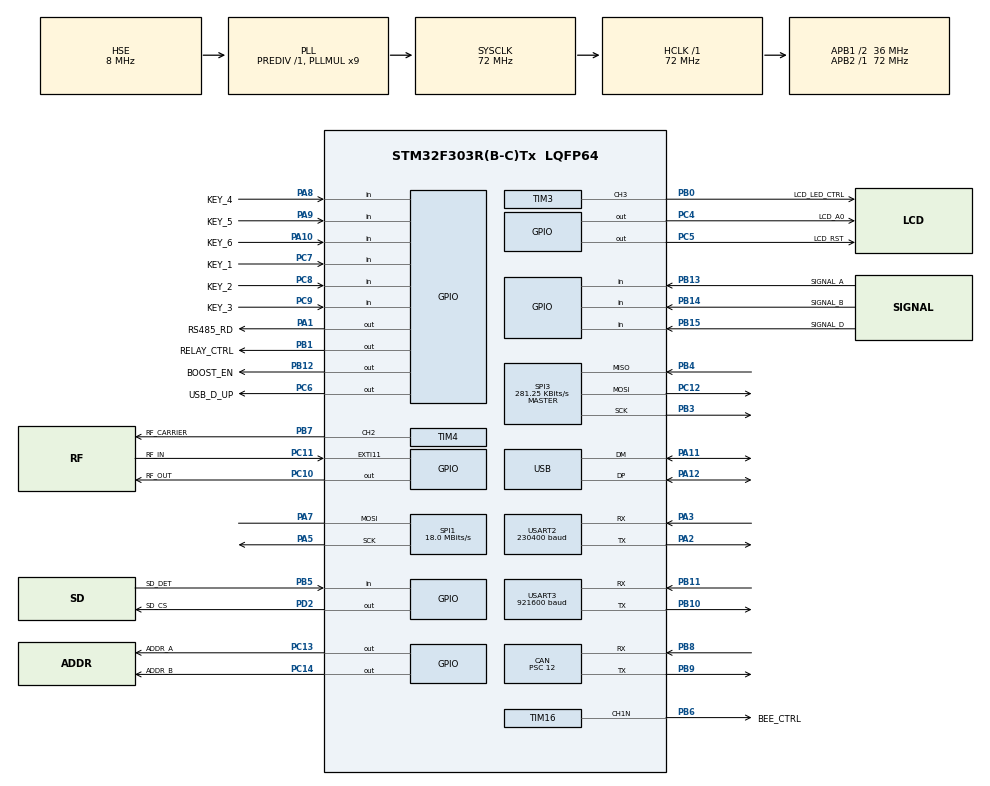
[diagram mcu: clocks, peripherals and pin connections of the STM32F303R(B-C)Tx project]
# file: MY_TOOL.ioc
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CAN.BS1=CAN_BS1_9TQ
CAN.BS2=CAN_BS2_2TQ
CAN.CalculateTimeQuantum=333.33333333333337
CAN.Mode=CAN_MODE_NORMAL
CAN.Prescaler=12
CAN.SJW=CAN_SJW_2TQ
CRC.InputDataFormat=CRC_INPUTDATA_FORMAT_HALFWORDS
Dma.Request0=USART3_RX
Dma.Request1=USART2_RX
Dma.USART2_RX.1.Direction=DMA_PERIPH_TO_MEMORY
Dma.USART2_RX.1.Instance=DMA1_Channel6
Dma.USART2_RX.1.MemDataAlignment=DMA_MDATAALIGN_BYTE
Dma.USART2_RX.1.MemInc=DMA_MINC_ENABLE
Dma.USART2_RX.1.Mode=DMA_NORMAL
Dma.USART2_RX.1.PeriphDataAlignment=DMA_PDATAALIGN_BYTE
Dma.USART2_RX.1.PeriphInc=DMA_PINC_DISABLE
Dma.USART2_RX.1.Priority=DMA_PRIORITY_LOW
Dma.USART3_RX.0.Direction=DMA_PERIPH_TO_MEMORY
Dma.USART3_RX.0.Instance=DMA1_Channel3
Dma.USART3_RX.0.MemDataAlignment=DMA_MDATAALIGN_BYTE
Dma.USART3_RX.0.MemInc=DMA_MINC_ENABLE
Dma.USART3_RX.0.Mode=DMA_NORMAL
Dma.USART3_RX.0.PeriphDataAlignment=DMA_PDATAALIGN_BYTE
Dma.USART3_RX.0.PeriphInc=DMA_PINC_DISABLE
Dma.USART3_RX.0.Priority=DMA_PRIORITY_LOW
FATFS._CODE_PAGE=437
FATFS._USE_LFN=2
FREERTOS.INCLUDE_uxTaskGetStackHighWaterMark=1
FREERTOS.INCLUDE_xTaskGetCurrentTaskHandle=1
FREERTOS.Queues01=KeyQueue,16,uint8_t,0,Dynamic,NULL,NULL;SysQueue,10,uint32_t,0,Dynamic,NULL,NULL;ComQueue,16,uint8_t,0,Dynamic,NULL,NULL;GuiQueue,10,uint32_t,0,Dynamic,NULL,NULL;CanQueue,4,uint8_t,0,Dynamic,NULL,NULL
FREERTOS.Tasks01=defaultTask,0,800,StartDefaultTask,Default,NULL,Dynamic,NULL,NULL;DelayStartUp,0,128,DelayStartUpFunction,Default,NULL,Dynamic,NULL,NULL;SysTask,0,128,SysTaskFunction,Default,NULL,Dynamic,NULL,NULL;ScanKey,2,128,ScanKeyFunction,Default,NULL,Dynamic,NULL,NULL;DealKey,0,128,DealKeyFunction,Default,NULL,Dynamic,NULL,NULL;DealCom,3,200,DealComTask,Default,NULL,Dynamic,NULL,NULL;GuiOperat,1,300,GuiOperattask,Default,NULL,Dynamic,NULL,NULL;SendToSensorNet,2,200,SendToSensorNetTask,Default,NULL,Dynamic,NULL,NULL;DealCan,3,200,DealCanTask,Default,NULL,Dynamic,NULL,NULL
FREERTOS.configTOTAL_HEAP_SIZE=15000
FREERTOS.configUSE_IDLE_HOOK=1
FREERTOS.configUSE_PREEMPTION=1
FREERTOS.configUSE_TICK_HOOK=1
Mcu.Family=STM32F3
Mcu.Name=STM32F303R(B-C)Tx
Mcu.Package=LQFP64
NVIC.CAN_RX1_IRQn=true\:5\:0\:false\:false\:true\:true\:true
NVIC.CAN_SCE_IRQn=true\:5\:0\:false\:false\:true\:true\:true
NVIC.DMA1_Channel3_IRQn=true\:5\:0\:false\:false\:true\:true\:false
NVIC.DMA1_Channel6_IRQn=true\:5\:0\:false\:false\:true\:true\:false
NVIC.EXTI15_10_IRQn=true\:5\:0\:false\:false\:true\:true\:true
NVIC.PriorityGroup=NVIC_PRIORITYGROUP_4
NVIC.TIM1_BRK_TIM15_IRQn=true\:5\:0\:false\:false\:true\:true\:false
NVIC.TIM1_UP_TIM16_IRQn=true\:5\:0\:false\:false\:true\:true\:true
NVIC.TIM2_IRQn=true\:5\:0\:false\:false\:true\:true\:true
NVIC.TIM6_DAC_IRQn=true\:5\:0\:false\:false\:true\:true\:true
NVIC.TIM7_IRQn=true\:5\:0\:false\:false\:true\:true\:true
NVIC.TIM8_UP_IRQn=true\:0\:0\:false\:false\:true\:false\:true
NVIC.TimeBase=TIM8_UP_IRQn
NVIC.TimeBaseIP=TIM8
NVIC.USART2_IRQn=true\:5\:0\:false\:false\:true\:true\:true
NVIC.USART3_IRQn=true\:5\:0\:false\:false\:true\:true\:true
NVIC.USB_LP_CAN_RX0_IRQn=true\:5\:0\:false\:false\:true\:true\:true
NVIC.USB_LP_IRQn=true\:5\:0\:false\:false\:true\:true\:false
PA1.GPIO_Label=RS485_RD
PA1.Signal=GPIO_Output
PA10.GPIO_Label=KEY_6
PA10.Signal=GPIO_Input
PA11.Mode=Device
PA11.Signal=USB_DM
PA12.GPIO_PuPd=GPIO_PULLUP
PA12.Mode=Device
PA12.Signal=USB_DP
PA13.Mode=Serial_Wire
PA13.Signal=SYS_JTMS-SWDIO
PA14.Mode=Serial_Wire
PA14.Signal=SYS_JTCK-SWCLK
PA2.Mode=Asynchronous
PA2.Signal=USART2_TX
PA3.Mode=Asynchronous
PA3.Signal=USART2_RX
PA5.Mode=Simplex_Bidirectional_Master
PA5.Signal=SPI1_SCK
PA7.Mode=Simplex_Bidirectional_Master
PA7.Signal=SPI1_MOSI
PA8.GPIO_Label=KEY_4
PA8.Signal=GPIO_Input
PA9.GPIO_Label=KEY_5
PA9.Signal=GPIO_Input
PB0.GPIO_Label=LCD_LED_CTRL
PB0.Signal=S_TIM3_CH3
PB1.GPIO_Label=RELAY_CTRL
PB1.Signal=GPIO_Output
PB10.Mode=Asynchronous
PB10.Signal=USART3_TX
PB11.Mode=Asynchronous
PB11.Signal=USART3_RX
PB12.GPIO_Label=BOOST_EN
PB12.Signal=GPIO_Output
PB13.GPIO_Label=SIGNAL_A
PB13.Signal=GPIO_Input
PB14.GPIO_Label=SIGNAL_B
PB14.Signal=GPIO_Input
PB15.GPIO_Label=SIGNAL_D
PB15.Signal=GPIO_Input
PB3.GPIO_PuPd=GPIO_PULLUP
PB3.Mode=Full_Duplex_Master
PB3.Signal=SPI3_SCK
PB4.Mode=Full_Duplex_Master
PB4.Signal=SPI3_MISO
PB5.GPIO_Label=SD_DET
PB5.GPIO_PuPd=GPIO_PULLUP
PB5.Signal=GPIO_Input
PB6.GPIO_Label=BEE_CTRL
PB6.Mode=PWM Generation1 CH1N
PB6.Signal=TIM16_CH1N
PB7.GPIO_Label=RF_CARRIER
PB7.Signal=S_TIM4_CH2
PB8.Mode=Master
PB8.Signal=CAN_RX
PB9.Mode=Master
PB9.Signal=CAN_TX
PC10.GPIO_Label=RF_OUT
PC10.Signal=GPIO_Output
PC11.GPIO_Label=RF_IN
PC11.GPIO_ModeDefaultEXTI=GPIO_MODE_IT_RISING_FALLING
PC11.Signal=GPXTI11
PC12.GPIO_PuPd=GPIO_PULLUP
PC12.Mode=Full_Duplex_Master
PC12.Signal=SPI3_MOSI
PC13.GPIO_Label=ADDR_A
PC13.Signal=GPIO_Output
PC14-OSC32_IN.GPIO_Label=ADDR_B
PC14-OSC32_IN.Signal=GPIO_Output
PC4.GPIO_Label=LCD_A0
PC4.Signal=GPIO_Output
PC5.GPIO_Label=LCD_RST
PC5.Signal=GPIO_Output
PC6.GPIO_Label=USB_D_UP
PC6.Signal=GPIO_Output
PC7.GPIO_Label=KEY_1
PC7.Signal=GPIO_Input
PC8.GPIO_Label=KEY_2
PC8.Signal=GPIO_Input
PC9.GPIO_Label=KEY_3
PC9.Signal=GPIO_Input
PD2.GPIO_Label=SD_CS
PD2.GPIO_PuPd=GPIO_PULLUP
PD2.PinState=GPIO_PIN_SET
PD2.Signal=GPIO_Output
PF0-OSC_IN.Mode=HSE-External-Oscillator
PF0-OSC_IN.Signal=RCC_OSC_IN
PF1-OSC_OUT.Mode=HSE-External-Oscillator
PF1-OSC_OUT.Signal=RCC_OSC_OUT
ProjectManager.HeapSize=0xA00
ProjectManager.StackSize=0xA00
ProjectManager.TargetToolchain=MDK-ARM V5
RCC.AHBFreq_Value=72000000
RCC.APB1CLKDivider=RCC_HCLK_DIV2
RCC.APB1Freq_Value=36000000
RCC.APB1TimFreq_Value=72000000
RCC.APB2Freq_Value=72000000
RCC.APB2TimFreq_Value=72000000
RCC.CortexFreq_Value=72000000
RCC.HCLKFreq_Value=72000000
RCC.HSE_VALUE=8000000
RCC.HSI_VALUE=8000000
RCC.LSE_VALUE=32768
RCC.PLLMUL=RCC_PLL_MUL9
RCC.PRESCALERUSB=RCC_USBCLKSOURCE_PLL_DIV1_5
RCC.SYSCLKFreq_VALUE=72000000
RCC.SYSCLKSourceVirtual=RCC_SYSCLKSOURCE_PLLCLK
RCC.USBFreq_Value=48000000
SH.S_TIM3_CH3.0=TIM3_CH3,PWM Generation3 CH3
SH.S_TIM4_CH2.0=TIM4_CH2,PWM Generation2 CH2
SPI1.BaudRatePrescaler=SPI_BAUDRATEPRESCALER_4
SPI1.CLKPhase=SPI_PHASE_1EDGE
SPI1.CLKPolarity=SPI_POLARITY_HIGH
SPI1.CalculateBaudRate=18.0 MBits/s
SPI1.DataSize=SPI_DATASIZE_8BIT
SPI1.Direction=SPI_DIRECTION_1LINE
SPI1.FirstBit=SPI_FIRSTBIT_MSB
SPI1.Mode=SPI_MODE_MASTER
SPI1.VirtualType=VM_MASTER
SPI3.BaudRatePrescaler=SPI_BAUDRATEPRESCALER_128
SPI3.CalculateBaudRate=281.25 KBits/s
SPI3.DataSize=SPI_DATASIZE_8BIT
SPI3.Direction=SPI_DIRECTION_2LINES
SPI3.Mode=SPI_MODE_MASTER
SPI3.VirtualType=VM_MASTER
TIM1.Period=65535
TIM1.Prescaler=719
TIM15.Period=999
TIM15.Prescaler=71
TIM16.Channel=TIM_CHANNEL_1
TIM16.Period=2000
TIM16.Prescaler=72
TIM16.Pulse=250
TIM17.Period=999
TIM17.Prescaler=71
TIM2.Period=59999
TIM2.Prescaler=71
TIM3.Channel-PWM\ Generation3\ CH3=TIM_CHANNEL_3
TIM3.Period=1000
TIM3.Prescaler=72
TIM3.Pulse-PWM\ Generation3\ CH3=200
TIM4.Channel-PWM\ Generation2\ CH2=TIM_CHANNEL_2
TIM4.Period=79
TIM4.Prescaler=23
TIM4.Pulse-PWM\ Generation2\ CH2=1
TIM6.Period=2999
TIM6.Prescaler=71
TIM7.Period=2999
TIM7.Prescaler=71
USART2.BaudRate=230400
USART2.VirtualMode-Asynchronous=VM_ASYNC
USART3.BaudRate=921600
USART3.VirtualMode-Asynchronous=VM_ASYNC
USB_DEVICE.APP_RX_DATA_SIZE=200
USB_DEVICE.APP_TX_DATA_SIZE=200
USB_DEVICE.CLASS_NAME_FS=CDC
USB_DEVICE.MANUFACTURER_STRING=SHUYANCOM
USB_DEVICE.USBD_DEBUG_LEVEL=0
USB_DEVICE.VirtualMode=Cdc
USB_DEVICE.VirtualModeFS=Cdc_FS
VP_CRC_VS_CRC.Mode=CRC_Activate
VP_FATFS_VS_Generic.Mode=User_defined
VP_FREERTOS_VS_ENABLE.Mode=Enabled
VP_SYS_VS_tim8.Mode=TIM8
VP_TIM15_VS_ClockSourceINT.Mode=Internal
VP_TIM16_VS_ClockSourceINT.Mode=Enable_Timer
VP_TIM17_VS_ClockSourceINT.Mode=Enable_Timer
VP_TIM1_VS_ClockSourceINT.Mode=Internal
VP_TIM2_VS_ClockSourceINT.Mode=Internal
VP_TIM3_VS_ClockSourceINT.Mode=Internal
VP_TIM6_VS_ClockSourceINT.Mode=Enable_Timer
VP_TIM7_VS_ClockSourceINT.Mode=Enable_Timer
VP_USB_DEVICE_VS_USB_DEVICE_CDC_FS.Mode=CDC_FS
board=custom

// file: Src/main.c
/* USER CODE BEGIN Header */
/**
  ******************************************************************************
  * @file           : main.c
  * @brief          : Main program body
  ******************************************************************************
  * This notice applies to any and all portions of this file
  * that are not between comment pairs USER CODE BEGIN and
  * USER CODE END. Other portions of this file, whether
  * inserted by the user or by software development tools
  * are owned by their respective copyright owners.
  *
  * Copyright (c) 2020 STMicroelectronics International N.V.
  * All rights reserved.
  *
  * Redistribution and use in source and binary forms, with or without
  * modification, are permitted, provided that the following conditions are met:
  *
  * 1. Redistribution of source code must retain the above copyright notice,
  *    this list of conditions and the following disclaimer.
  * 2. Redistributions in binary form must reproduce the above copyright notice,
  *    this list of conditions and the following disclaimer in the documentation
  *    and/or other materials provided with the distribution.
  * 3. Neither the name of STMicroelectronics nor the names of other
  *    contributors to this software may be used to endorse or promote products
  *    derived from this software without specific written permission.
  * 4. This software, including modifications and/or derivative works of this
  *    software, must execute solely and exclusively on microcontroller or
  *    microprocessor devices manufactured by or for STMicroelectronics.
  * 5. Redistribution and use of this software other than as permitted under
  *    this license is void and will automatically terminate your rights under
  *    this license.
  *
  * THIS SOFTWARE IS PROVIDED BY STMICROELECTRONICS AND CONTRIBUTORS "AS IS"
  * AND ANY EXPRESS, IMPLIED OR STATUTORY WARRANTIES, INCLUDING, BUT NOT
  * LIMITED TO, THE IMPLIED WARRANTIES OF MERCHANTABILITY, FITNESS FOR A
  * PARTICULAR PURPOSE AND NON-INFRINGEMENT OF THIRD PARTY INTELLECTUAL PROPERTY
  * RIGHTS ARE DISCLAIMED TO THE FULLEST EXTENT PERMITTED BY LAW. IN NO EVENT
  * SHALL STMICROELECTRONICS OR CONTRIBUTORS BE LIABLE FOR ANY DIRECT, INDIRECT,
  * INCIDENTAL, SPECIAL, EXEMPLARY, OR CONSEQUENTIAL DAMAGES (INCLUDING, BUT NOT
  * LIMITED TO, PROCUREMENT OF SUBSTITUTE GOODS OR SERVICES; LOSS OF USE, DATA,
  * OR PROFITS; OR BUSINESS INTERRUPTION) HOWEVER CAUSED AND ON ANY THEORY OF
  * LIABILITY, WHETHER IN CONTRACT, STRICT LIABILITY, OR TORT (INCLUDING
  * NEGLIGENCE OR OTHERWISE) ARISING IN ANY WAY OUT OF THE USE OF THIS SOFTWARE,
  * EVEN IF ADVISED OF THE POSSIBILITY OF SUCH DAMAGE.
  *
  ******************************************************************************
  */
/* USER CODE END Header */

#include "main.h"
#include "cmsis_os.h"
#include "can.h"
#include "crc.h"
#include "dma.h"
#include "fatfs.h"
#include "spi.h"
#include "tim.h"
#include "usart.h"
#include "usb_device.h"
#include "gpio.h"

/* USER CODE BEGIN Includes */
#include "include.h"
/* USER CODE END Includes */

void SystemClock_Config(void);
void MX_FREERTOS_Init(void);

int main(void)
{

  /* MCU Configuration--------------------------------------------------------*/

  /* Reset of all peripherals, Initializes the Flash interface and the Systick. */
  HAL_Init();

  /* Configure the system clock */
  SystemClock_Config();

  /* Initialize all configured peripherals */
  MX_GPIO_Init();
  MX_DMA_Init();
  MX_CRC_Init();
  MX_CAN_Init();
  MX_SPI3_Init();
  MX_TIM4_Init();
  MX_USART2_UART_Init();
  MX_SPI1_Init();
  MX_TIM3_Init();
  MX_USART3_UART_Init();
  MX_TIM16_Init();
  MX_TIM17_Init();
  MX_TIM6_Init();
  MX_TIM7_Init();
  MX_TIM1_Init();
  MX_TIM2_Init();
  MX_TIM15_Init();
  /* USER CODE BEGIN 2 */
  	HAL_TIM_Base_Start(&htim1);
  	HAL_TIM_Base_Start(&htim2);
  	HAL_NVIC_EnableIRQ(EXTI15_10_IRQn);

	//HAL_TIM_PWM_Start(&htim3,TIM_CHANNEL_3);
	HAL_TIM_PWM_Start(&htim4,TIM_CHANNEL_2);
	//HAL_TIMEx_PWMN_Start(&htim16,TIM_CHANNEL_1);

	HAL_CAN_ActivateNotification(&hcan,CAN_IT_RX_FIFO0_MSG_PENDING);
	//SetCanFliter16Bit_IDMask_Mode(0x100,0x007,0xf00,0x00f);//����1XX��XX7��֡
	SetCanFliter16Bit_IDMask_Mode(0x000,0x000,0x000,0x000);//����1XX��XX7��֡
	HAL_CAN_Start(&hcan);

  /* USER CODE END 2 */

  /* Call init function for freertos objects (in freertos.c) */
  MX_FREERTOS_Init();

  /* Start scheduler */
  osKernelStart();

  /* We should never get here as control is now taken by the scheduler */

  /* Infinite loop */
  while (1)
  {

  }
}

void SystemClock_Config(void)
{
  RCC_OscInitTypeDef RCC_OscInitStruct = {0};
  RCC_ClkInitTypeDef RCC_ClkInitStruct = {0};
  RCC_PeriphCLKInitTypeDef PeriphClkInit = {0};

  /**Initializes the CPU, AHB and APB busses clocks
  */
  RCC_OscInitStruct.OscillatorType = RCC_OSCILLATORTYPE_HSE;
  RCC_OscInitStruct.HSEState = RCC_HSE_ON;
  RCC_OscInitStruct.HSEPredivValue = RCC_HSE_PREDIV_DIV1;
  RCC_OscInitStruct.HSIState = RCC_HSI_ON;
  RCC_OscInitStruct.PLL.PLLState = RCC_PLL_ON;
  RCC_OscInitStruct.PLL.PLLSource = RCC_PLLSOURCE_HSE;
  RCC_OscInitStruct.PLL.PLLMUL = RCC_PLL_MUL9;
  if (HAL_RCC_OscConfig(&RCC_OscInitStruct) != HAL_OK)
  {
    Error_Handler();
  }
  /**Initializes the CPU, AHB and APB busses clocks
  */
  RCC_ClkInitStruct.ClockType = RCC_CLOCKTYPE_HCLK|RCC_CLOCKTYPE_SYSCLK
                              |RCC_CLOCKTYPE_PCLK1|RCC_CLOCKTYPE_PCLK2;
  RCC_ClkInitStruct.SYSCLKSource = RCC_SYSCLKSOURCE_PLLCLK;
  RCC_ClkInitStruct.AHBCLKDivider = RCC_SYSCLK_DIV1;
  RCC_ClkInitStruct.APB1CLKDivider = RCC_HCLK_DIV2;
  RCC_ClkInitStruct.APB2CLKDivider = RCC_HCLK_DIV1;

  if (HAL_RCC_ClockConfig(&RCC_ClkInitStruct, FLASH_LATENCY_2) != HAL_OK)
  {
    Error_Handler();
  }
  PeriphClkInit.PeriphClockSelection = RCC_PERIPHCLK_USB|RCC_PERIPHCLK_USART2
                              |RCC_PERIPHCLK_USART3|RCC_PERIPHCLK_TIM1;
  PeriphClkInit.Usart2ClockSelection = RCC_USART2CLKSOURCE_PCLK1;
  PeriphClkInit.Usart3ClockSelection = RCC_USART3CLKSOURCE_PCLK1;
  PeriphClkInit.USBClockSelection = RCC_USBCLKSOURCE_PLL_DIV1_5;
  PeriphClkInit.Tim1ClockSelection = RCC_TIM1CLK_HCLK;
  if (HAL_RCCEx_PeriphCLKConfig(&PeriphClkInit) != HAL_OK)
  {
    Error_Handler();
  }
}

/* USER CODE BEGIN 4 */

void HAL_CAN_RxFifo1MsgPendingCallback(CAN_HandleTypeDef *hcan)
{
	CAN_RxHeaderTypeDef RxMessage1 = {0};
	unsigned char buff[8] = {0};
	//HAL_GPIO_TogglePin(LED_G_GPIO_Port,LED_G_Pin);
	//HAL_GPIO_TogglePin(LED_Y_GPIO_Port,LED_Y_Pin);
	HAL_CAN_GetRxMessage(hcan,CAN_RX_FIFO1,&RxMessage1,buff);
}

void HAL_CAN_RxFifo0MsgPendingCallback(CAN_HandleTypeDef *hcan)
{
	CAN_RxHeaderTypeDef RxMessage0 = {0};
	unsigned char buff[8] = {0};
	//HAL_GPIO_TogglePin(POWER_CTRL_GPIO_Port,POWER_CTRL_Pin);
	//HAL_GPIO_TogglePin(LED_G_GPIO_Port,LED_G_Pin);
	//HAL_GPIO_TogglePin(LED_Y_GPIO_Port,LED_Y_Pin);
	HAL_CAN_GetRxMessage(hcan,CAN_RX_FIFO0,&RxMessage0,buff);
	RecvCanFrame_Stm32(buff,&RxMessage0,&CanRecvFifo);
	//HAL_GPIO_TogglePin(LED_G_GPIO_Port,LED_G_Pin);
	//HAL_GPIO_TogglePin(LED_Y_GPIO_Port,LED_Y_Pin);
}

/* USER CODE END 4 */

void HAL_TIM_PeriodElapsedCallback(TIM_HandleTypeDef *htim)
{
  if (htim->Instance == TIM8) {
    HAL_IncTick();
  }
  /* USER CODE BEGIN Callback 1 */
  if (htim->Instance == TIM17) {
    BeeCountTimeCallBack();
  }

	if (htim->Instance == TIM15) {
		TimerCount++;
		INC_COUNTER_TIMER();
	}
  	UartTimerOpeart(htim,&COM2_Info);//timer6
	UartTimerOpeart(htim,&COM3_Info);//timer7
  /* USER CODE END Callback 1 */
}

void Error_Handler(void)
{
}

/************************ (C) COPYRIGHT STMicroelectronics *****END OF FILE****/

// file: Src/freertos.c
/* USER CODE BEGIN Header */
/**
  ******************************************************************************
  * File Name          : freertos.c
  * Description        : Code for freertos applications
  ******************************************************************************
  * This notice applies to any and all portions of this file
  * that are not between comment pairs USER CODE BEGIN and
  * USER CODE END. Other portions of this file, whether
  * inserted by the user or by software development tools
  * are owned by their respective copyright owners.
  *
  * Copyright (c) 2020 STMicroelectronics International N.V.
  * All rights reserved.
  *
  * Redistribution and use in source and binary forms, with or without
  * modification, are permitted, provided that the following conditions are met:
  *
  * 1. Redistribution of source code must retain the above copyright notice,
  *    this list of conditions and the following disclaimer.
  * 2. Redistributions in binary form must reproduce the above copyright notice,
  *    this list of conditions and the following disclaimer in the documentation
  *    and/or other materials provided with the distribution.
  * 3. Neither the name of STMicroelectronics nor the names of other
  *    contributors to this software may be used to endorse or promote products
  *    derived from this software without specific written permission.
  * 4. This software, including modifications and/or derivative works of this
  *    software, must execute solely and exclusively on microcontroller or
  *    microprocessor devices manufactured by or for STMicroelectronics.
  * 5. Redistribution and use of this software other than as permitted under
  *    this license is void and will automatically terminate your rights under
  *    this license.
  *
  * THIS SOFTWARE IS PROVIDED BY STMICROELECTRONICS AND CONTRIBUTORS "AS IS"
  * AND ANY EXPRESS, IMPLIED OR STATUTORY WARRANTIES, INCLUDING, BUT NOT
  * LIMITED TO, THE IMPLIED WARRANTIES OF MERCHANTABILITY, FITNESS FOR A
  * PARTICULAR PURPOSE AND NON-INFRINGEMENT OF THIRD PARTY INTELLECTUAL PROPERTY
  * RIGHTS ARE DISCLAIMED TO THE FULLEST EXTENT PERMITTED BY LAW. IN NO EVENT
  * SHALL STMICROELECTRONICS OR CONTRIBUTORS BE LIABLE FOR ANY DIRECT, INDIRECT,
  * INCIDENTAL, SPECIAL, EXEMPLARY, OR CONSEQUENTIAL DAMAGES (INCLUDING, BUT NOT
  * LIMITED TO, PROCUREMENT OF SUBSTITUTE GOODS OR SERVICES; LOSS OF USE, DATA,
  * OR PROFITS; OR BUSINESS INTERRUPTION) HOWEVER CAUSED AND ON ANY THEORY OF
  * LIABILITY, WHETHER IN CONTRACT, STRICT LIABILITY, OR TORT (INCLUDING
  * NEGLIGENCE OR OTHERWISE) ARISING IN ANY WAY OUT OF THE USE OF THIS SOFTWARE,
  * EVEN IF ADVISED OF THE POSSIBILITY OF SUCH DAMAGE.
  *
  ******************************************************************************
  */
/* USER CODE END Header */

#include "FreeRTOS.h"
#include "task.h"
#include "main.h"
#include "cmsis_os.h"

/* USER CODE BEGIN Includes */
#include "include.h"
/* USER CODE END Includes */

/* USER CODE BEGIN Variables */

//unsigned char G_SensorNetDownLoadFlag = CAN_NET_STOP;
unsigned char G_SensorNetDownLoadFlag = INVENTORY_PROCESS;

unsigned char frame_num = 3;
unsigned char slot_gap = 80;
unsigned char sensor_upload_mod = UPLOAD_MOD_RAW_VALUE;
//unsigned char sensor_upload_mod = UPLOAD_MOD_DIFF_VALUE;

unsigned int slot_syn_time = 100;

unsigned char G_CsdParIdacMin = 11;
unsigned char G_CsdParIdacMax = 19;

unsigned char G_CsdParIdac_CMin = 1;
unsigned char G_CsdParIdac_CMax = 129;

unsigned short G_CsdParWindow_Min = 33000;
unsigned short G_CsdParWindow_Max = 45000;

unsigned char G_CsdParSclkMin = 2;
unsigned char G_CsdParSclkMax = 7;

unsigned short G_BASELINE_THRESHOLE = 200;
unsigned short G_BASELINE_NOISE_THRESHOLE = 2;
unsigned short G_BASELINE_UPDATA_TIME = 20;

unsigned short G_TRANS_VALUE = 0;

unsigned char G_UPLOAD_GRAPH_FLAG = 0;

#define NET_GUARD_GAP	10
unsigned short G_NetGuardGap = NET_GUARD_GAP;

/* USER CODE END Variables */
osThreadId defaultTaskHandle;
osThreadId DelayStartUpHandle;
osThreadId SysTaskHandle;
osThreadId ScanKeyHandle;
osThreadId DealKeyHandle;
osThreadId DealComHandle;
osThreadId GuiOperatHandle;
osThreadId SendToSensorNetHandle;
osThreadId DealCanHandle;
osMessageQId KeyQueueHandle;
osMessageQId SysQueueHandle;
osMessageQId ComQueueHandle;
osMessageQId GuiQueueHandle;
osMessageQId CanQueueHandle;

void StartDefaultTask(void const * argument);
void DelayStartUpFunction(void const * argument);
void SysTaskFunction(void const * argument);
void ScanKeyFunction(void const * argument);
void DealKeyFunction(void const * argument);
void DealComTask(void const * argument);
void GuiOperattask(void const * argument);
void SendToSensorNetTask(void const * argument);
void DealCanTask(void const * argument);

extern void MX_USB_DEVICE_Init(void);
extern void MX_FATFS_Init(void);
void MX_FREERTOS_Init(void); /* (MISRA C 2004 rule 8.1) */

/* Hook prototypes */
void vApplicationIdleHook(void);
void vApplicationTickHook(void);

/* USER CODE BEGIN 2 */
__weak void vApplicationIdleHook( void )
{
   /* vApplicationIdleHook() will only be called if configUSE_IDLE_HOOK is set
   to 1 in FreeRTOSConfig.h. It will be called on each iteration of the idle
   task. It is essential that code added to this hook function never attempts
   to block in any way (for example, call xQueueReceive() with a block time
   specified, or call vTaskDelay()). If the application makes use of the
   vTaskDelete() API function (as this demo application does) then it is also
   important that vApplicationIdleHook() is permitted to return to its calling
   function, because it is the responsibility of the idle task to clean up
   memory allocated by the kernel to any task that has since been deleted. */
}
/* USER CODE END 2 */

/* USER CODE BEGIN 3 */
__weak void vApplicationTickHook( void )
{
   /* This function will be called by each tick interrupt if
   configUSE_TICK_HOOK is set to 1 in FreeRTOSConfig.h. User code can be
   added here, but the tick hook is called from an interrupt context, so
   code must not attempt to block, and only the interrupt safe FreeRTOS API
   functions can be used (those that end in FromISR()). */
}
/* USER CODE END 3 */

void MX_FREERTOS_Init(void) {

  /* Create the thread(s) */
  /* definition and creation of defaultTask */
  osThreadDef(defaultTask, StartDefaultTask, osPriorityNormal, 0, 800);
  defaultTaskHandle = osThreadCreate(osThread(defaultTask), NULL);

  /* definition and creation of DelayStartUp */
  osThreadDef(DelayStartUp, DelayStartUpFunction, osPriorityNormal, 0, 128);
  DelayStartUpHandle = osThreadCreate(osThread(DelayStartUp), NULL);

  /* definition and creation of SysTask */
  osThreadDef(SysTask, SysTaskFunction, osPriorityNormal, 0, 128);
  SysTaskHandle = osThreadCreate(osThread(SysTask), NULL);

  /* definition and creation of ScanKey */
  osThreadDef(ScanKey, ScanKeyFunction, osPriorityHigh, 0, 128);
  ScanKeyHandle = osThreadCreate(osThread(ScanKey), NULL);

  /* definition and creation of DealKey */
  osThreadDef(DealKey, DealKeyFunction, osPriorityNormal, 0, 128);
  DealKeyHandle = osThreadCreate(osThread(DealKey), NULL);

  /* definition and creation of DealCom */
  osThreadDef(DealCom, DealComTask, osPriorityRealtime, 0, 200);
  DealComHandle = osThreadCreate(osThread(DealCom), NULL);

  /* definition and creation of GuiOperat */
  osThreadDef(GuiOperat, GuiOperattask, osPriorityAboveNormal, 0, 300);
  GuiOperatHandle = osThreadCreate(osThread(GuiOperat), NULL);

  /* definition and creation of SendToSensorNet */
  osThreadDef(SendToSensorNet, SendToSensorNetTask, osPriorityHigh, 0, 200);
  SendToSensorNetHandle = osThreadCreate(osThread(SendToSensorNet), NULL);

  /* definition and creation of DealCan */
  osThreadDef(DealCan, DealCanTask, osPriorityRealtime, 0, 200);
  DealCanHandle = osThreadCreate(osThread(DealCan), NULL);

  /* Create the queue(s) */
  /* definition and creation of KeyQueue */
  osMessageQDef(KeyQueue, 16, uint8_t);
  KeyQueueHandle = osMessageCreate(osMessageQ(KeyQueue), NULL);

  /* definition and creation of SysQueue */
  osMessageQDef(SysQueue, 10, uint32_t);
  SysQueueHandle = osMessageCreate(osMessageQ(SysQueue), NULL);

  /* definition and creation of ComQueue */
  osMessageQDef(ComQueue, 16, uint8_t);
  ComQueueHandle = osMessageCreate(osMessageQ(ComQueue), NULL);

  /* definition and creation of GuiQueue */
  osMessageQDef(GuiQueue, 10, uint32_t);
  GuiQueueHandle = osMessageCreate(osMessageQ(GuiQueue), NULL);

  /* definition and creation of CanQueue */
  osMessageQDef(CanQueue, 4, uint8_t);
  CanQueueHandle = osMessageCreate(osMessageQ(CanQueue), NULL);

}

void StartDefaultTask(void const * argument)
{
  /* init code for USB_DEVICE */
  MX_USB_DEVICE_Init();

  /* init code for FATFS */
  MX_FATFS_Init();

  /* USER CODE BEGIN StartDefaultTask */

  osDelay(500);
  FIL TXT_A;
  FRESULT res;
  unsigned int num_write = 0;
  res = f_open(&TXT_A, "message3.txt", FA_WRITE|FA_CREATE_NEW);
  //printf("open function done res = %d\r\n",res);
  res = f_write(&TXT_A, "hello from stm32", 17, &num_write);
  //printf("write function done res = %d , write num = %d \r\n",res,num_write);
  f_close(&TXT_A);
/**/

  HAL_GPIO_WritePin(USB_D_UP_GPIO_Port,USB_D_UP_Pin,GPIO_PIN_SET);
	save_task_info();
	InitSerialBus();
	InitTimerCounter();
	InitWatcher();

	Load_SystemCFGData();
	G_CsdParIdacMin = SystemCFG.G_CsdParIdacMin;
	G_CsdParIdacMax = SystemCFG.G_CsdParIdacMax;

	G_CsdParIdac_CMin = SystemCFG.G_CsdParIdac_CMin;
	G_CsdParIdac_CMax = SystemCFG.G_CsdParIdac_CMax;

	G_CsdParWindow_Min = SystemCFG.G_CsdParWindow_Min;
	G_CsdParWindow_Max = SystemCFG.G_CsdParWindow_Max;

	G_CsdParSclkMin = SystemCFG.G_CsdParSclkMin;
	G_CsdParSclkMax = SystemCFG.G_CsdParSclkMax;

	G_BASELINE_THRESHOLE = SystemCFG.G_BASELINE_THRESHOLE;
	G_BASELINE_NOISE_THRESHOLE = SystemCFG.G_BASELINE_NOISE_THRESHOLE;
	G_BASELINE_UPDATA_TIME = SystemCFG.G_BASELINE_UPDATA_TIME;
	sensor_upload_mod = SystemCFG.sensor_upload_mod;

	osDelay(2000);
	HAL_GPIO_WritePin(BOOST_EN_GPIO_Port,BOOST_EN_Pin,GPIO_PIN_SET);
	HAL_GPIO_WritePin(RELAY_CTRL_GPIO_Port,RELAY_CTRL_Pin,GPIO_PIN_SET);
	Enable_Path(CAN_PATH_2);

	osDelay(1500);

	osDelay(1000);
	SensorCallID();
	osDelay(4000);
	//SetAllSensorAddr((void*)&SensorNet);

	osDelay(1000);

	SetALLSensorIDACScope(G_CsdParIdacMin,G_CsdParIdacMax);
	osDelay(50);
	SetALLSensorIDAC_CScope(G_CsdParIdac_CMin,G_CsdParIdac_CMax);
	osDelay(50);

  /* Infinite loop */
  for(;;)
  {
	//UploadSensorInfo( (void*)&Board,1);
	osDelay(200);
	//printf("runing time %d\r\n",HAL_GetTick());

	//SD_Test();

	if(G_UPLOAD_GRAPH_FLAG)
		{
			//upload_diffvalue_232_all_nod_16sensor();	//上传到上位机工具
			upload_diffvalue_232_all_nod_32sensor();
			#if (DEBUG == 0)
			upload_diffvalue_232_all_nod_32sensor();
			#endif

			osDelay(40);
		}
	//GetNextSensorValue();
	//osDelay(10);
	//GetCurSensorDiffValue();
	//osDelay(10);
	//GetSensorCFGRes(tmp_addr);//获取指定节点板的配置结果(是否配置成功)

	//osDelay(10);
	//CheckSensorCfg(G_CFG_ERROR_Flag, tmp_addr);

	//FillUploadBuff(UPLOAD_BUFF,(void*)&Board);
	//HAL_Delay(1);
  }
  /* USER CODE END StartDefaultTask */
}

void DelayStartUpFunction(void const * argument)
{
  /* USER CODE BEGIN DelayStartUpFunction */
	save_task_info();
  /* Infinite loop */
  for(;;)
  {
	osDelay(2);
	ScanEC11();
  }
  /* USER CODE END DelayStartUpFunction */
}

void SysTaskFunction(void const * argument)
{
  /* USER CODE BEGIN SysTaskFunction */
	save_task_info();
  /* Infinite loop */
  //test_music();
  	osDelay(1000);
  static unsigned short gate_value = 200;

  for(;;)
  {
	osDelay(10);

	PushGraphData(&(Lcd.Graph[0]),(SensorNet.SensorBoard[0].sensor[0].Data));
	PushGraphData(&(Lcd.Graph[1]),(SensorNet.SensorBoard[0].sensor[1].Data));
	if(SensorNet.SensorBoard[0].sensor[0].Data>32700)
		{
			if(gate_value < (SensorNet.SensorBoard[0].sensor[0].Data - 32768))
				{
					PushGraphData(&(Lcd.Graph[2]),10);
				}
			else
				{
					PushGraphData(&(Lcd.Graph[2]),0);
				}

		}
	else
		{
			PushGraphData(&(Lcd.Graph[2]),0);
		}

	if(SensorNet.SensorBoard[0].sensor[1].Data>32700)
		{
			if(gate_value < (SensorNet.SensorBoard[0].sensor[1].Data - 32768))
				{
					PushGraphData(&(Lcd.Graph[3]),10);
				}
			else
				{
					PushGraphData(&(Lcd.Graph[3]),0);
				}
		}
	else
		{
			PushGraphData(&(Lcd.Graph[3]),0);
		}

	//PushGraphData(&(Lcd.Graph[3]),Lcd.Graph[1].Range);

	/*GUI_ReDrawLineChart(&(Lcd.Graph[0]),(Lcd.Graph[0].WritePoint));
	GUI_ReDrawLineChart(&(Lcd.Graph[1]),(Lcd.Graph[1].WritePoint));

	GUI_ReDrawLineChart(&(Lcd.Graph[2]),(Lcd.Graph[0].WritePoint));
	GUI_ReDrawLineChart(&(Lcd.Graph[3]),(Lcd.Graph[1].WritePoint));
	*/
	//HAL_UART_Transmit(&huart2,"HELLO WORLD\n",13,0XFFFF);

	//osDelay(50);
	//HAL_UART_Transmit(&huart3,"HELLO WORLD\n",13,0XFFFF);

  	//Enable_Path(RS485_PATH_1);
	//HAL_UART_Transmit(&huart2,"HELLO WORLD\n",13,0XFFFF);
	//ChangeBee(power,tone);
  }
  /* USER CODE END SysTaskFunction */
}

void ScanKeyFunction(void const * argument)
{
  /* USER CODE BEGIN ScanKeyFunction */
	save_task_info();
  /* Infinite loop */
  for(;;)
  {
	read_key();
	osDelay(40);
  }
  /* USER CODE END ScanKeyFunction */
}

void DealKeyFunction(void const * argument)
{
  /* USER CODE BEGIN DealKeyFunction */
	save_task_info();
  /* Infinite loop */
	unsigned char recv_key_value = 0;
  /* Infinite loop */
  for(;;)
  {
	xQueueReceive(KeyQueueHandle, &recv_key_value, portMAX_DELAY);
	deal_key_value(recv_key_value);
  }
  /* USER CODE END DealKeyFunction */
}

void DealComTask(void const * argument)
{
  /* USER CODE BEGIN DealComTask */
	save_task_info();
	unsigned char serial_value;
  /* Infinite loop */
  for(;;)
  {
	xQueueReceive(COM_QUEUE, &serial_value, portMAX_DELAY);
		switch(serial_value)
			{
				case COM1_MSG:
					//HAL_GPIO_TogglePin(POWER_CTRL_GPIO_Port,POWER_CTRL_Pin);
					//Deal_RS232_Data(PTR_COM1_RECV_DATA,COM1_RECV_DATA_LENGTH);
					break;

				case COM2_MSG:
					//iap_deal_recv_data(PTR_COM2_RECV_DATA,COM2_RECV_DATA_LENGTH);
					Deal_RS232_Data(PTR_COM2_RECV_DATA,COM2_RECV_DATA_LENGTH);
					break;

				case COM3_MSG:
					Deal_RS232_Data(PTR_COM3_RECV_DATA,COM3_RECV_DATA_LENGTH);
					break;

				case COM4_MSG:

					break;

				case ERROR_MSG:
					break;

				default:
					break;
			}
  }
  /* USER CODE END DealComTask */
}

void GuiOperattask(void const * argument)
{
  /* USER CODE BEGIN GuiOperattask */
	save_task_info();
  	osDelay(500);

	Lcd_Init();
	Lcd_Clear(Lcd.imageBack_Color.Colour_Value);

	Lcd.CurMenu.MenuInit();

 	//Lcd_Clear(Lcd.MenuBackColor.Colour_Value);

	Lcd.Graph[0].Color.Colour_Com.red = 15;
	Lcd.Graph[0].DrawStartPoint = 0;
	Lcd.Graph[0].DrawPointNum = 50;
	Lcd.Graph[0].X_Pos= 30;
	Lcd.Graph[0].Y_Pos= 47;
	Lcd.Graph[0].X_Size= 100;
	Lcd.Graph[0].Y_Size= 45;

	Lcd.Graph[1].Color.Colour_Com.red = 15;
	Lcd.Graph[1].Color.Colour_Com.blue= 15;
	Lcd.Graph[1].DrawStartPoint = 0;
	Lcd.Graph[1].DrawPointNum = 50;
	Lcd.Graph[1].X_Pos= 30;
	Lcd.Graph[1].Y_Pos= 94;
	Lcd.Graph[1].X_Size= 100;
	Lcd.Graph[1].Y_Size= 45;

	Lcd.Graph[2].Color.Colour_Com.green= 7;
	Lcd.Graph[2].DrawStartPoint = 0;
	Lcd.Graph[2].DrawPointNum = 100;
	Lcd.Graph[2].X_Pos= 30;
	Lcd.Graph[2].Y_Pos= 111;
	Lcd.Graph[2].X_Size= 100;
	Lcd.Graph[2].Y_Size= 15;

	Lcd.Graph[3].Color.Colour_Com.red = 15;
	Lcd.Graph[3].Color.Colour_Com.green= 7;
	Lcd.Graph[3].DrawStartPoint = 0;
	Lcd.Graph[3].DrawPointNum = 100;
	Lcd.Graph[3].X_Pos= 30;
	Lcd.Graph[3].Y_Pos= 128;
	Lcd.Graph[3].X_Size= 100;
	Lcd.Graph[3].Y_Size= 15;

/*GUI_InitLinrChart(&(Lcd.Graph[0]));
	GUI_DrawLineChart(&(Lcd.Graph[0]));

	GUI_InitLinrChart(&(Lcd.Graph[1]));
	GUI_DrawLineChart(&(Lcd.Graph[1]));

	GUI_InitLinrChart(&(Lcd.Graph[2]));
	GUI_DrawLineChart(&(Lcd.Graph[2]));

	GUI_InitLinrChart(&(Lcd.Graph[3]));
	GUI_DrawLineChart(&(Lcd.Graph[3]));
*/

	unsigned int GuiMsg = 0;
	unsigned int time_tick = 0;
	char buf[20] = {0};
	//GUI_MenuChange(ShowGraphMenuInit,ShowGraphMenuClear,ShowGraphMenuOperat);
  /* Infinite loop */
  for(;;)
  {
  	//SQUARE_TEST();
	xQueueReceive(GuiQueueHandle, &GuiMsg, portMAX_DELAY);
	Lcd.CurMenu.MenuOperat(GuiMsg);
/*
	if(0XF0 == GuiMsg)
		{
			sprintf(buf,"SD Size is %dMB",((USERFatFS.csize)*512*(USERFatFS.n_fatent)));
			GUI_FillStringAt(buf, 30,20, (Lcd.StrColor.Colour_Value), Lcd.StrBack_Color.Colour_Value, &GUI_FontHZ10x10);
		}
	if(0XF1 == GuiMsg)
		{
			sprintf(buf,"SD Card Removed",((USERFatFS.csize)*512*(USERFatFS.n_fatent)));
			GUI_FillStringAt(buf, 30,20, Lcd.StrColor.Colour_Value, Lcd.StrBack_Color.Colour_Value, &GUI_FontHZ10x10);
		}
*/

	///帧率测试
	/*
	time_tick = HAL_GetTick();
	Lcd_Clear(WHITE);
	time_tick = HAL_GetTick() - time_tick;
	sprintf(buf,"%3d",time_tick);
	GUI_FillStringAt(buf,120,110,BLACK,WHITE,&GUI_FontHZ10x10);
	time_tick = HAL_GetTick();

	time_tick = HAL_GetTick();
	Lcd_Clear(BLUE);
	time_tick = HAL_GetTick() - time_tick;
	sprintf(buf,"%3d",time_tick);
	GUI_FillStringAt(buf,120,110,BLACK,BLUE,&GUI_FontHZ10x10);
	time_tick = HAL_GetTick();

	time_tick = HAL_GetTick();
	Lcd_Clear(YELLOW);
	time_tick = HAL_GetTick() - time_tick;
	sprintf(buf,"%3d",time_tick);
	GUI_FillStringAt(buf,120,110,BLACK,YELLOW,&GUI_FontHZ10x10);
	time_tick = HAL_GetTick();

	time_tick = HAL_GetTick();
	Lcd_Clear(GREEN);
	time_tick = HAL_GetTick() - time_tick;
	sprintf(buf,"%3d",time_tick);
	GUI_FillStringAt(buf,120,110,BLACK,GREEN,&GUI_FontHZ10x10);
	time_tick = HAL_GetTick();
	*/

  }
  /* USER CODE END GuiOperattask */
}

void SendToSensorNetTask(void const * argument)
{
  /* USER CODE BEGIN SendToSensorNetTask */
	save_task_info();
	static unsigned char Polling_Delay = 1;
	unsigned char iap_test = 0;
	static unsigned int last_scan_clk;
	static unsigned int last_inventry_clk;
  /* Infinite loop */
	if(0 == iap_test)
	{
		osDelay(8500);
	}
	else
	{
		EnterIapModCMD();
		osDelay(20);
		IapSendTest();
		osDelay(20);
		IapSendTest();
		osDelay(20);
	}
  sensor_upload_mod = 2;
  /* Infinite loop */
  Polling_Delay = ((SensorNet.CurSensorNum)*CUR_SENSOR_DELAY) > CUR_FREQUENCY? 1:(CUR_FREQUENCY -((SensorNet.CurSensorNum)*CUR_SENSOR_DELAY) );

sensor_upload_mod = UPLOAD_MOD_RAW_VALUE;
  for(;;)
  {
	osDelay(1);
	if(0 == G_EnterIapMod)//iap时不轮询
	{
		switch(G_SensorNetDownLoadFlag)
			{
				case(INVENTORY_PROCESS):

					GetAllSensorValue(sensor_upload_mod);
					G_SensorNetDownLoadFlag = CMD_PROCESS_IDLE;

					if(G_NetGuardGap > NET_GUARD_GAP)//网络维护函数
						{
							G_NetGuardGap = 0;
							G_SensorNetDownLoadFlag = CMD_PROCESS_NET_GUARD;
						}
					G_NetGuardGap++;

				break;

				case(CMD_PROCESS_START_AUTOSET):
					osDelay(slot_syn_time*((SensorNet.CurSensorNum/10)+1));//等待时槽结束
					StartAutoSetAllCSD();
					G_SensorNetDownLoadFlag = CMD_PROCESS_IDLE;
					osDelay(slot_syn_time);
				break;

				case(CMD_PROCESS_SET_CSD_PARATEMER):
					osDelay(slot_syn_time*((SensorNet.CurSensorNum/10)+1));//等待时槽结束
					SetALLSensorIDACScope(G_CsdParIdacMin,G_CsdParIdacMax);
					osDelay(10);
					SetALLSensorIDAC_CScope(G_CsdParIdac_CMin,G_CsdParIdac_CMax);
					osDelay(10);
					SetALLSensorCLKScope(G_CsdParSclkMin,G_CsdParSclkMax);
					osDelay(10);
					SetALLSensorWindow_Scope(G_CsdParWindow_Min,G_CsdParWindow_Max);
					osDelay(10);
					G_SensorNetDownLoadFlag = CMD_PROCESS_IDLE;
					osDelay(slot_syn_time);
				break;

				case CMD_PROCESS_NET_GUARD:
					G_SensorNetDownLoadFlag = CMD_PROCESS_IDLE;
					NetGuard();
					break;

				case CMD_PROCESS_SET_BASELINE_PAEATEMER:
					osDelay(slot_syn_time*((SensorNet.CurSensorNum/10)+1));//等待时槽结束
					SetSensorBaseLineThresoldValue(0XFF,G_BASELINE_THRESHOLE);
					osDelay(10);
					SetSensorBaseLineNoiseThresoldValue(0XFF,G_BASELINE_NOISE_THRESHOLE);
					osDelay(10);
					SetSensorBaseLineUpdataTime(0XFF,G_BASELINE_UPDATA_TIME);
					osDelay(10);
					G_SensorNetDownLoadFlag = CMD_PROCESS_IDLE;
					osDelay(slot_syn_time);
				break;

				case CMD_PROCESS_CTRL_LED:
					osDelay(slot_syn_time*((SensorNet.CurSensorNum/10)+1));//等待时槽结束
					CtrlLedFlash(G_TRANS_VALUE, 1);
					G_SensorNetDownLoadFlag = CMD_PROCESS_IDLE;
					osDelay(slot_syn_time);
				break;

				case CMD_PROCESS_IDLE:
					if((HAL_GetTick() - last_scan_clk) > BOARD_SCAN_TIME)
						{
							//StartNextBoardScan();
							last_scan_clk = HAL_GetTick();
							break;
						}

					if((HAL_GetTick() - last_inventry_clk)>(Polling_Delay))
						{
							G_SensorNetDownLoadFlag = INVENTORY_PROCESS;
							last_inventry_clk = HAL_GetTick();
						}

					break;

				default:
				break;

			}
		}/**/
  }
  /* USER CODE END SendToSensorNetTask */
}

void DealCanTask(void const * argument)
{
  /* USER CODE BEGIN DealCanTask */
	save_task_info();
	unsigned char Can_value;
  /* Infinite loop */
  for(;;)
  {
	xQueueReceive(CanQueueHandle, &Can_value, portMAX_DELAY);
	Deal_CAN_Data_Fifo(&CanRecvFifo,Can_value);
  }
  /* USER CODE END DealCanTask */
}

/************************ (C) COPYRIGHT STMicroelectronics *****END OF FILE****/
